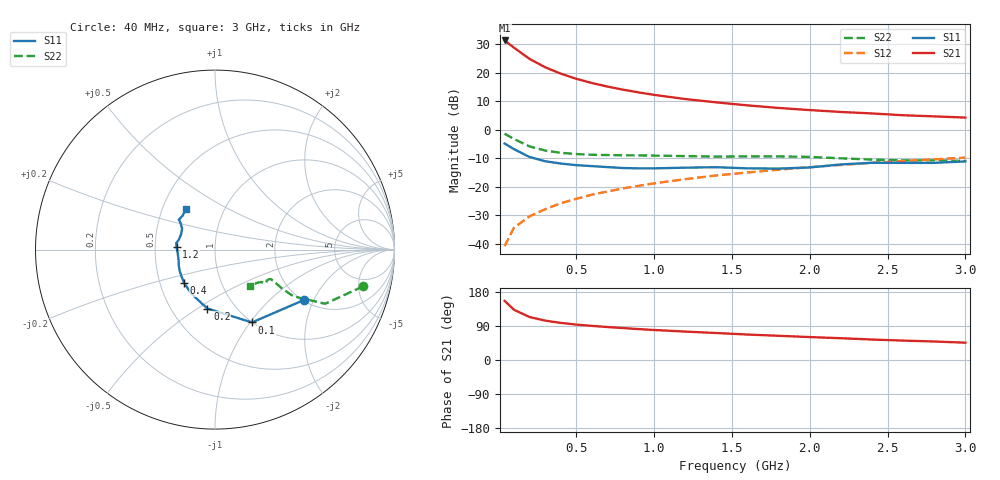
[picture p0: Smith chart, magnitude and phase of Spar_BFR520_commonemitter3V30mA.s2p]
! Filename:  BFR520F.S2P  Version:  2.1
! NXP part #: BFR520  Date: Sep 1991
! Bias condition: Vce=3V, Ic=30mA
#  MHz  S  MA  R  50
! Freq  S11  S21  S12  S22  !GUM [dB]
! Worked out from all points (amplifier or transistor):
!   21 points, 40 MHz to 3 GHz, reference 50 ohm
!   highest |S21| = 31.3 dB at 40 MHz (marker M1)
!   |S21| within 3 dB of that: start of sweep to 112 MHz
!   unconditionally stable (mu >= 1): 481 MHz to end of sweep
!   at 300 MHz: K = 0.91, MSG = 24.9 dB, |S12| = -28.0 dB
!   at 1 GHz: K = 1.06, MAG = 14.0 dB, |S12| = -18.9 dB
!   at 3 GHz: K = 1.00, MAG = 6.6 dB, |S12| = -9.8 dB
!   S11 on the Smith chart (normalised r, x): 40 MHz: 2.03, -1.69; 100 MHz: 1.00, -1.02; 200 MHz: 0.75, -0.55; 400 MHz: 0.67, -0.27; 1.2 GHz: 0.65, +0.02; 3 GHz: 0.66, +0.32
40  0.57 -29.5  36.79 156.0  0.009 77.3  0.849 -14.0
100  0.455 -63.1  27.5 132.7  0.019 69.4  0.684 -26.2
200  0.331 -97.4  17.46 113.4  0.03 68.7  0.508 -30.8
300  0.279 -118.1  12.47 104.0  0.04 70.8  0.43 -30.1
400  0.254 -132.3  9.628 97.9  0.051 71.8  0.392 -29.0
500  0.238 -142.0  7.818 93.5  0.061 73.1  0.373 -28.4
600  0.229 -149.5  6.596 90.1  0.072 73.9  0.362 -28.1
700  0.22 -156.5  5.712 87.0  0.082 74.9  0.358 -28.0
800  0.212 -162.8  5.035 84.3  0.093 75.1  0.355 -27.8
900  0.209 -168.7  4.512 81.6  0.103 75.2  0.353 -27.8
1000  0.209 -175.0  4.079 79.2  0.114 75.1  0.35 -28.0
1200  0.215 176.0  3.447 75.0  0.135 74.7  0.343 -28.9
1400  0.219 170.4  3.013 71.2  0.157 74.0  0.336 -30.9
1600  0.209 164.5  2.668 67.2  0.177 72.9  0.339 -32.3
1800  0.207 156.3  2.404 63.9  0.198 72.3  0.339 -33.7
2000  0.217 147.5  2.206 60.5  0.219 71.0  0.332 -34.0
2200  0.245 141.9  2.043 57.5  0.24 69.8  0.314 -35.1
2400  0.262 140.4  1.925 54.0  0.262 68.5  0.298 -38.5
2600  0.261 139.2  1.79 51.2  0.281 67.0  0.288 -42.8
2800  0.261 133.8  1.709 48.8  0.301 66.1  0.289 -45.4
3000  0.277 125.8  1.629 45.7  0.322 64.6  0.282 -45.7
